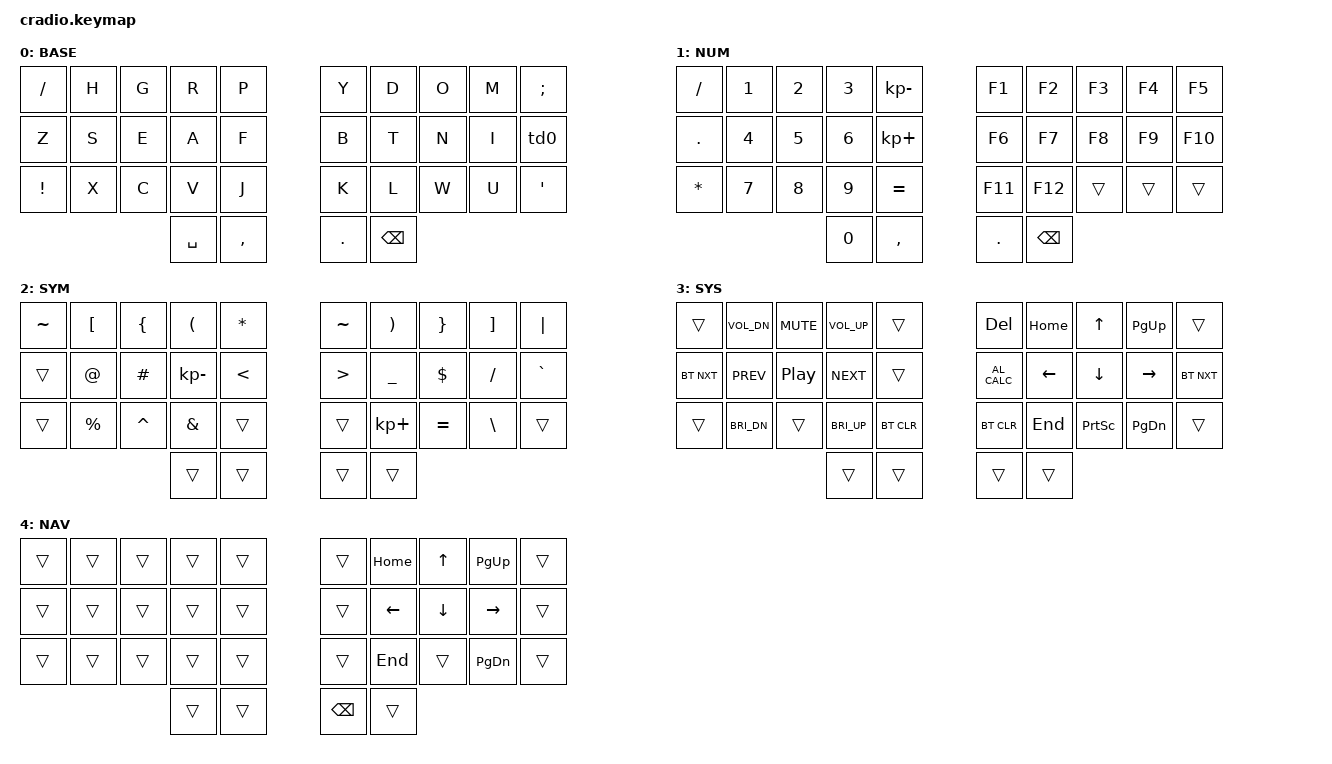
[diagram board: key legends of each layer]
/*
 * Copyright (c) 2020 The ZMK Contributors
 *
 * SPDX-License-Identifier: MIT
 */

#include <behaviors.dtsi>
#include <dt-bindings/zmk/bt.h>
#include <dt-bindings/zmk/keys.h>

// Layer definitions

#define BASE 0
#define NUM 1
#define SYM 2
#define SYS 3
#define NAV 4

// -----------------

/ {
    behaviors {
        td0: tap_dance_0 {
            compatible = "zmk,behavior-tap-dance";
            label = "TAP_DANCE_0";
            #binding-cells = <0>;
            tapping-term-ms = <220>;
            bindings = <&kp ENTER>, <&kp Q>;
        };
        td1: tap_dance_1 {
            compatible = "zmk,behavior-tap-dance";
            label = "TAP_DANCE_1";
            #binding-cells = <0>;
            tapping-term-ms = <200>;
            bindings = <&kp M>, <&kp ENTER>;
        };
    };

    combos {
        compatible = "zmk,combos";

        combo_esc {
            timeout-ms = <36>;
            key-positions = <0 1>;
            bindings = <&kp ESC>;
        };

        combo_ltab {
            timeout-ms = <36>;
            key-positions = <1 2>;
            bindings = <&kp TAB>;
        };

        combo_lshift {
            timeout-ms = <36>;
            key-positions = <11 12>;
            bindings = <&kp RSHFT>;
        };

        combo_lcmd {
            timeout-ms = <36>;
            key-positions = <21 22>;
            bindings = <&kp RCMD>;
        };

        combo_lctrl {
            timeout-ms = <44>;
            key-positions = <12 22>;
            bindings = <&kp LCTRL>;
        };

        combo_lnum {
            timeout-ms = <36>;
            key-positions = <2 3>;
            bindings = <&mo 1>;
        };

        combo_lsym {
            timeout-ms = <36>;
            key-positions = <12 13>;
            bindings = <&mo 2>;
        };

        combo_lsys {
            timeout-ms = <36>;
            key-positions = <22 23>;
            bindings = <&mo 3>;
        };

        combo_rshift {
            timeout-ms = <36>;
            key-positions = <17 18>;
            bindings = <&kp RSHFT>;
        };

        combo_rcmd {
            timeout-ms = <36>;
            key-positions = <27 28>;
            bindings = <&kp RCMD>;
        };

        combo_rctrl {
            timeout-ms = <44>;
            key-positions = <17 27>;
            bindings = <&kp RCTRL>;
        };

        combo_rnum {
            timeout-ms = <36>;
            key-positions = <6 7>;
            bindings = <&mo 1>;
        };

        combo_rsym {
            timeout-ms = <36>;
            key-positions = <16 17>;
            bindings = <&mo 2>;
        };

        combo_rsys {
            timeout-ms = <36>;
            key-positions = <26 27>;
            bindings = <&mo 3>;
        };

        combo_capslock {
            timeout-ms = <44>;
            key-positions = <16 17 18>;
            bindings = <&kp CAPS>;
        };

        combo_nav {
            timeout-ms = <44>;
            key-positions = <11 12 13>;
            bindings = <&tog NAV>;
        };

        combo_ralt {
            bindings = <&kp RALT>;
            key-positions = <7 8>;
        };

        combo_shift_ctrl {
            bindings = <&kp RS(RCTRL)>;
            key-positions = <16 26>;
        };

        combo_next_sheet {
            timeout-ms = <30>;
            key-positions = <7 17>;
            bindings = <&kp RA(DOWN)>;
        };

        combo_prev_sheet {
            timeout-ms = <30>;
            key-positions = <2 12>;
            bindings = <&kp LA(UP)>;
        };

        combo_switch_window {
            timeout-ms = <30>;
            key-positions = <8 9>;
            bindings = <&kp LG(GRAVE)>;
        };

        combo_alfred {
            timeout-ms = <28>;
            key-positions = <7 8>;
            bindings = <&kp LA(SPACE)>;
        };
        
    };

    keymap {
        compatible = "zmk,keymap";

        BASE {
            bindings = <
/*0         1      2      3          4            5        6         7      8      9 */
&kp FSLH  &kp H  &kp G  &kp R      &kp P        &kp Y    &kp D     &kp O  &kp M  &kp SEMI
/*10        11     12     13         14           15       16        17     18     19 */
&kp Z     &kp S  &kp E  &kp A      &kp F        &kp B    &kp T     &kp N  &kp I  &td0
/*20        21     22     23         24           25       26        27     28     29 */
&kp EXCL  &kp X  &kp C  &kp V      &kp J        &kp K    &kp L     &kp W  &kp U  &kp SQT
                     /*   30         31           32       33  */
                        &kp SPACE  &kp COMMA    &kp DOT  &kp BSPC
            >;
        };

        NUM {
            bindings = <
&kp FSLH  &kp N1  &kp N2  &kp N3  &kp KP_MINUS    &kp F1   &kp F2   &kp F3  &kp F4  &kp F5
&kp DOT   &kp N4  &kp N5  &kp N6  &kp KP_PLUS     &kp F6   &kp F7   &kp F8  &kp F9  &kp F10
&kp STAR  &kp N7  &kp N8  &kp N9  &kp EQUAL       &kp F11  &kp F12  &trans  &trans  &trans
                          &kp N0  &kp COMMA       &kp DOT  &kp BSPC
            >;
        };

        SYM {
            bindings = <
&kp TILDE  &kp LBKT   &kp LBRC   &kp LPAR      &kp ASTRK    &kp TILDE  &kp RPAR     &kp RBRC    &kp RBKT  &kp PIPE
&trans     &kp AT     &kp HASH   &kp KP_MINUS  &kp LT       &kp GT     &kp UNDER    &kp DOLLAR  &kp FSLH  &kp GRAVE
&trans     &kp PRCNT  &kp CARET  &kp AMPS      &trans       &trans     &kp KP_PLUS  &kp EQUAL   &kp BSLH  &trans
                                 &trans        &trans       &trans     &trans
            >;
        };

        SYS {
            bindings = <
&trans      &kp C_VOL_DN  &kp C_MUTE        &kp C_VOL_UP  &trans        &kp DEL        &kp HOME  &kp UP     &kp PG_UP  &trans
&bt BT_NXT  &kp C_PREV    &kp C_PLAY_PAUSE  &kp C_NEXT    &trans        &kp C_AL_CALC  &kp LEFT  &kp DOWN   &kp RIGHT  &bt BT_NXT
&trans      &kp C_BRI_DN  &trans            &kp C_BRI_UP  &bt BT_CLR    &bt BT_CLR     &kp END   &kp PSCRN  &kp PG_DN  &trans
                                            &trans        &trans        &trans         &trans
            >;
        };

        NAV {
            bindings = <
&trans  &trans  &trans  &trans  &trans    &trans    &kp HOME  &kp UP    &kp PG_UP  &trans
&trans  &trans  &trans  &trans  &trans    &trans    &kp LEFT  &kp DOWN  &kp RIGHT  &trans
&trans  &trans  &trans  &trans  &trans    &trans    &kp END   &trans    &kp PG_DN  &trans
                        &trans  &trans    &kp BSPC  &trans
            >;
        };
    };
};
